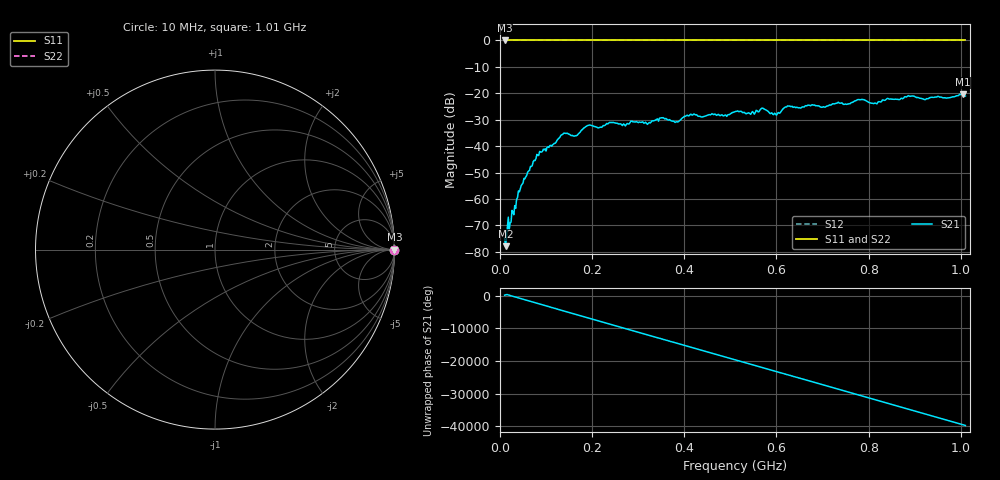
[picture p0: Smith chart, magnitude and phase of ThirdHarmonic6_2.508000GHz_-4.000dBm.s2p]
! 8/17/2025 4:51:14 AM
! C:\ANRITSUVNA\TEMP\TEMP.S2P
! CHANNEL.1
! TR.MEASUREMENT
! RAW.DATA
! RF.CORRECTION.OFF
! AVERAGING.OFF
! IF.BANDWIDTH: 5KHZ
! SWEEPTYPE:  FREQ.SWEEP(Linear)
! Reference Plane Port Info
! PORT:  PORT1  PORT2
! DISTANCE:  0  m  0  m
! TIME:  0  s  0  s
! PHASE.OFFSET:  0  deg.  0  deg.
! LOSS:  0  dB  0  dB
! REF.LOSS:  0  dB  0  dB
! REF.FREQ:  0  Hz  0  Hz
! Power Info
! POWER:  -20  dBm  -20  dBm
! EFF.POWER:  -20  dBm  -20  dBm
! SOURCE.ATTEN:  0  dB  0  dB
! TEST.ATTEN:  0  dB  0  dB
# GHZ S RI R 50.0
! FREQ.GHZ  S11RE  S11IM  S21RE  S21IM  S12RE  S12IM  S22RE  S22IM
!; PortSelection: Port_12
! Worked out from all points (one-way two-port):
!   501 points, 10 MHz to 1.01 GHz, reference 50 ohm
!   highest |S21| = -20.36 dB at 1.004 GHz (marker M1); lowest = -77.9 dB at 12 MHz (marker M2)
!   lowest |S11| = 0.0 dB at 10 MHz (marker M3)
!   |S11| at or under -10 dB: nowhere
!   |S22| runs from 0.0 to 0.0 dB; largest |S21 - S12| = 1.1
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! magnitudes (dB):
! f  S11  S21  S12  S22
! 10 MHz  0.0  -74.8  0.0  0.0
! 12 MHz  0.0  -77.9  0.0  0.0
! 44 MHz  0.0  -56.2  0.0  0.0
! 84 MHz  0.0  -43.5  0.0  0.0
! 136 MHz  0.0  -35.6  0.0  0.0
! 164 MHz  0.0  -36.1  0.0  0.0
! 178 MHz  0.0  -33.8  0.0  0.0
! 194 MHz  0.0  -32.0  0.0  0.0
! 322 MHz  0.0  -31.4  0.0  0.0
! 344 MHz  0.0  -30.5  0.0  0.0
! 384 MHz  0.0  -30.7  0.0  0.0
! 416 MHz  0.0  -28.2  0.0  0.0
! 510 MHz  0.0  -27.0  0.0  0.0
! 570 MHz  0.0  -25.6  0.0  0.0
! 596 MHz  0.0  -27.6  0.0  0.0
! 624 MHz  0.0  -24.8  0.0  0.0
! 678 MHz  0.0  -24.3  0.0  0.0
! 782 MHz  0.0  -22.5  0.0  0.0
! 814 MHz  0.0  -23.7  0.0  0.0
! 844 MHz  0.0  -22.1  0.0  0.0
! 1.004 GHz  0.0  -20.4  0.0  0.0
! 1.01 GHz  0.0  -21.0  0.0  0.0
